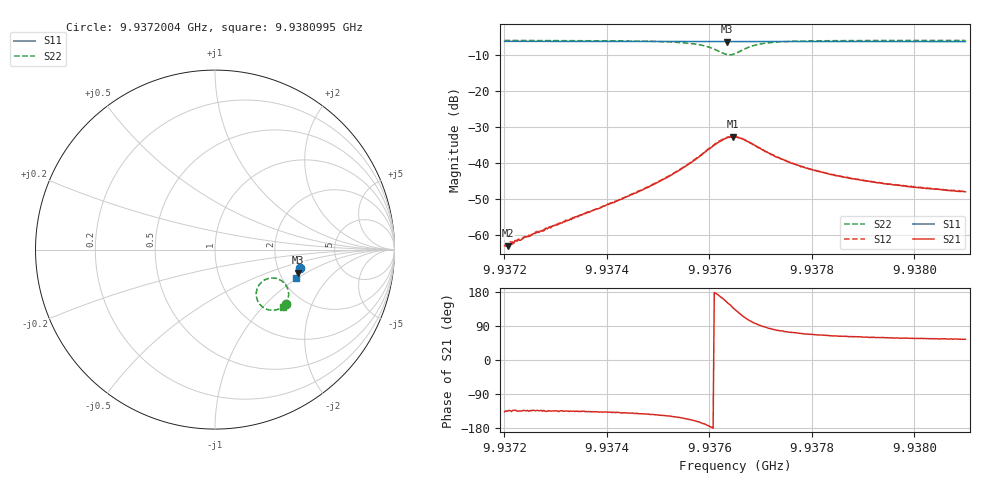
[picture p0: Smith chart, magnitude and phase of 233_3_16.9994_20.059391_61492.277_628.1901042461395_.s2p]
#  HZ  S  RI  R  50.00
! Rohde & Schwarz Vector Network Analyzer
! Rohde-Schwarz,ZNB20-2Port,1311601062101988,3.16
! Created: UTC 3/20/2024, 11:02:28 PM
! freq[Hz]  re:S11  im:S11  re:S21  im:S21  re:S12  im:S12  re:S22  im:S22
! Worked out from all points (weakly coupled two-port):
!   401 points, 9.9372004 GHz to 9.9380995 GHz, reference 50 ohm
!   highest |S21| = -32.74 dB at 9.9376455 GHz (marker M1); lowest = -63.0 dB at 9.9372071 GHz (marker M2)
!   lowest |S11| = -6.4 dB at 9.9376342 GHz (marker M3), VSWR 2.84, Z = 126 - j41.9 ohm
!   |S11| at or under -10 dB: nowhere
!   |S22| runs from -10.0 to -6.1 dB; largest |S21 - S12| = 0.0012
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9.93720039e9  0.4733 -0.1003  -0.000519 -0.00049  -0.00052 -0.000478  0.394 -0.304
9.93720713e9  0.4733 -0.1007  -0.000492 -0.000512  -0.000503 -0.000521  0.3937 -0.3044
9.93722511e9  0.473 -0.1019  -0.000583 -0.000582  -0.000614 -0.000587  0.3921 -0.3059
9.93735099e9  0.4704 -0.1105  -0.00136 -0.00132  -0.0014 -0.00131  0.3794 -0.317
9.93742517e9  0.4687 -0.1157  -0.00233 -0.00205  -0.0024 -0.00201  0.3673 -0.3251
9.93750159e9  0.4671 -0.1207  -0.00452 -0.00309  -0.00463 -0.0031  0.3447 -0.3347
9.93754205e9  0.466 -0.1236  -0.00702 -0.00377  -0.00725 -0.00367  0.3218 -0.338
9.93758701e9  0.4642 -0.1266  -0.0131 -0.00283  -0.0132 -0.00275  0.2736 -0.3251
9.93760949e9  0.4631 -0.1276  -0.0176 0.000648  -0.018 0.000942  0.2408 -0.2911
9.93762297e9  0.4624 -0.1281  -0.0195 0.00519  -0.02 0.00591  0.2298 -0.2516
9.93763421e9  0.462 -0.1281  -0.0197 0.0102  -0.0198 0.0109  0.2376 -0.2114
9.93764545e9  0.4619 -0.1283  -0.0173 0.0153  -0.0171 0.016  0.2651 -0.1766
9.93764995e9  0.462 -0.1284  -0.0157 0.0168  -0.0154 0.0174  0.2799 -0.1673
9.93766343e9  0.4623 -0.1289  -0.0101 0.0193  -0.00952 0.0196  0.3272 -0.1584
9.93767692e9  0.4626 -0.1296  -0.00504 0.0187  -0.00465 0.0191  0.3644 -0.1699
9.93770389e9  0.4627 -0.1316  0.000352 0.0151  0.000764 0.0152  0.4004 -0.2077
9.93774211e9  0.4622 -0.1346  0.00252 0.0109  0.00291 0.0108  0.4101 -0.2463
9.93776234e9  0.4618 -0.136  0.00291 0.00936  0.00317 0.00936  0.4095 -0.2594
9.93780055e9  0.461 -0.1388  0.00305 0.00742  0.00327 0.00739  0.406 -0.2765
9.93787473e9  0.4591 -0.1437  0.00288 0.00538  0.00298 0.00537  0.398 -0.2958
9.93795115e9  0.4573 -0.1489  0.00266 0.0043  0.00275 0.0043  0.3908 -0.3075
9.93809951e9  0.4534 -0.1585  0.00228 0.00324  0.00238 0.00324  0.3794 -0.3223
